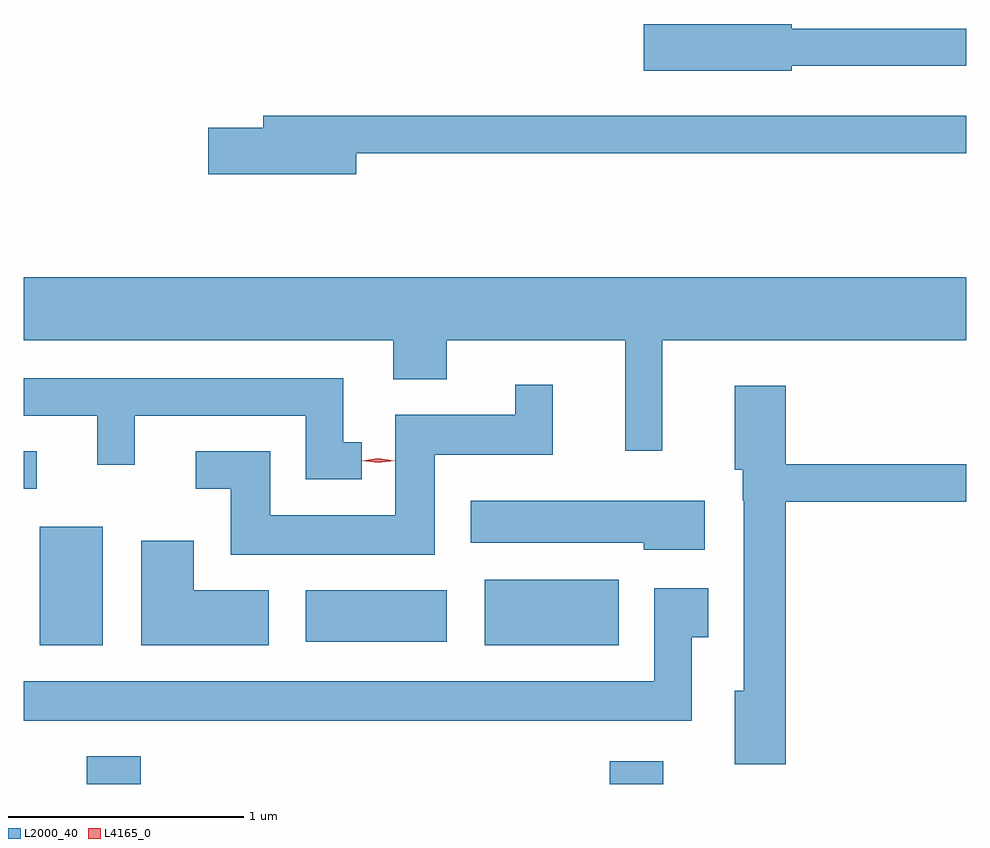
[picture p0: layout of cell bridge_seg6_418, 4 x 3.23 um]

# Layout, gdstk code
import gdstk
lib = gdstk.Library(unit=1e-6, precision=1e-09)
def R(c, l, rs):  # rectangles x0, y0, x1, y1
    for r in rs: c.add(gdstk.rectangle(r[:2], r[2:], *l))
def P(c, l, *ps):  # polygons
    for p in ps: c.add(gdstk.Polygon(p, *l))
L2000_40 = (2000, 40)
L4165_0 = (4165, 0)

bridge_seg6_418 = lib.new_cell('bridge_seg6_418')
R(bridge_seg6_418, L2000_40, [(824.881,1663.592,825.109,1663.709), (827.101,1663.592,827.329,1663.689), (824.681,1664.181,824.949,1664.684), (826.571,1664.181,827.139,1664.459), (825.811,1664.196,826.409,1664.414), (824.614,1664.846,824.668,1665.004)])
P(bridge_seg6_418, L2000_40, [(827.874,1666.641),(828.614,1666.641),(828.614,1666.799),(827.874,1666.799),(827.874,1666.819),(827.246,1666.819),(827.246,1666.621),(827.874,1666.621)],
  [(826.024,1666.271),(828.614,1666.271),(828.614,1666.429),(825.631,1666.429),(825.631,1666.379),(825.396,1666.379),(825.396,1666.181),(826.024,1666.181)],
  [(827.324,1665.476),(828.614,1665.476),(828.614,1665.744),(824.614,1665.744),(824.614,1665.476),(826.181,1665.476),(826.181,1665.311),(826.409,1665.311),(826.409,1665.476),(827.166,1665.476),(827.166,1665.008),(827.324,1665.008)],
  [(826.048,1665.044),(825.969,1665.044),(825.969,1665.314),(824.614,1665.314),(824.614,1665.156),(824.926,1665.156),(824.926,1664.948),(825.084,1664.948),(825.084,1665.156),(825.811,1665.156),(825.811,1664.886),(826.048,1664.886)],
  [(826.359,1664.991),(826.859,1664.991),(826.859,1665.288),(826.701,1665.288),(826.701,1665.159),(826.191,1665.159),(826.191,1664.734),(825.659,1664.734),(825.659,1665.004),(825.343,1665.004),(825.343,1664.846),(825.491,1664.846),(825.491,1664.566),(826.359,1664.566)],
  [(827.849,1664.791),(828.614,1664.791),(828.614,1664.949),(827.849,1664.949),(827.849,1665.284),(827.631,1665.284),(827.631,1664.926),(827.666,1664.926),(827.666,1664.795),(827.671,1664.795),(827.671,1663.989),(827.631,1663.989),(827.631,1663.676),(827.849,1663.676)],
  [(827.504,1664.794),(826.511,1664.794),(826.511,1664.616),(827.246,1664.616),(827.246,1664.586),(827.504,1664.586)],
  [(825.654,1664.414),(825.334,1664.414),(825.334,1664.624),(825.111,1664.624),(825.111,1664.181),(825.654,1664.181)],
  [(827.449,1664.216),(827.519,1664.216),(827.519,1664.424),(827.291,1664.424),(827.291,1664.029),(824.614,1664.029),(824.614,1663.861),(827.449,1663.861)])
P(bridge_seg6_418, L4165_0, [(826.118,1664.955),(826.049,1664.964),(826.049,1664.965),(826.049,1664.965),(826.118,1664.975),(826.188,1664.965),(826.188,1664.964),(826.188,1664.964)])

lib.write_gds('bridge_seg6_418.gds')
